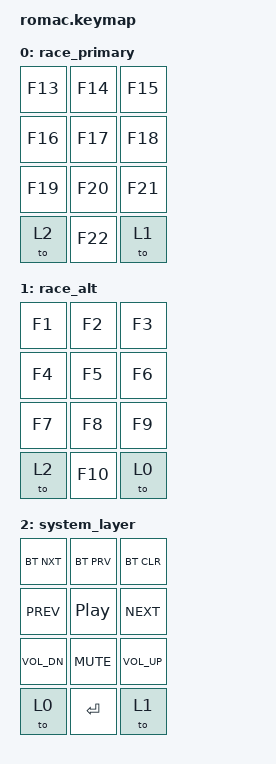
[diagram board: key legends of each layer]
/*
 * Copyright (c) 2020 The ZMK Contributors
 *
 * SPDX-License-Identifier: MIT
 */

#include <behaviors.dtsi>
#include <dt-bindings/zmk/keys.h>
#include <dt-bindings/zmk/bt.h>

/ {
    keymap {
        compatible = "zmk,keymap";

    race_primary {
// ----------------------------
// | F13     | F14 | F15      |
// | F16     | F17 | F18      |
// | F19     | F20 | F21      |
// | SYS LYR | F22 | ALT LYR  |
// ----------------------------
            bindings = <
    &kp F13 &kp F14 &kp F15
    &kp F16 &kp F17 &kp F18
    &kp F19 &kp F20 &kp F21
    &to 2   &kp F22 &to 1
            >;
        };

    race_alt {
// --------------------------
// | F1      | F2   | F3    |
// | F4      | F5   | F6    |
// | F7      | F8   | F9    |
// | SYS LYR | F10  | MAIN  |
// --------------------------
            bindings = <
    &kp F1  &kp F2  &kp F3
    &kp F4  &kp F5  &kp F6
    &kp F7  &kp F8  &kp F9
    &to 2   &kp F10 &to 0
        >;
    };

    system_layer {
// -------------------------------
// | BT NXT | BT PRV | BT CLR    |
// | PREV   | PLAY   | NEXT      |
// | VOL-   | MUTE   | VOL+      |
// | MAIN   | RET    | ALT LYR   |
// -------------------------------
        bindings = <
    &bt BT_NXT &bt BT_PRV &bt BT_CLR
    &kp C_PREV &kp C_PP   &kp C_NEXT
    &kp C_VOL_DN &kp C_MUTE &kp C_VOL_UP
    &to 0 &kp RET &to 1
            >;
        };
    };
};

